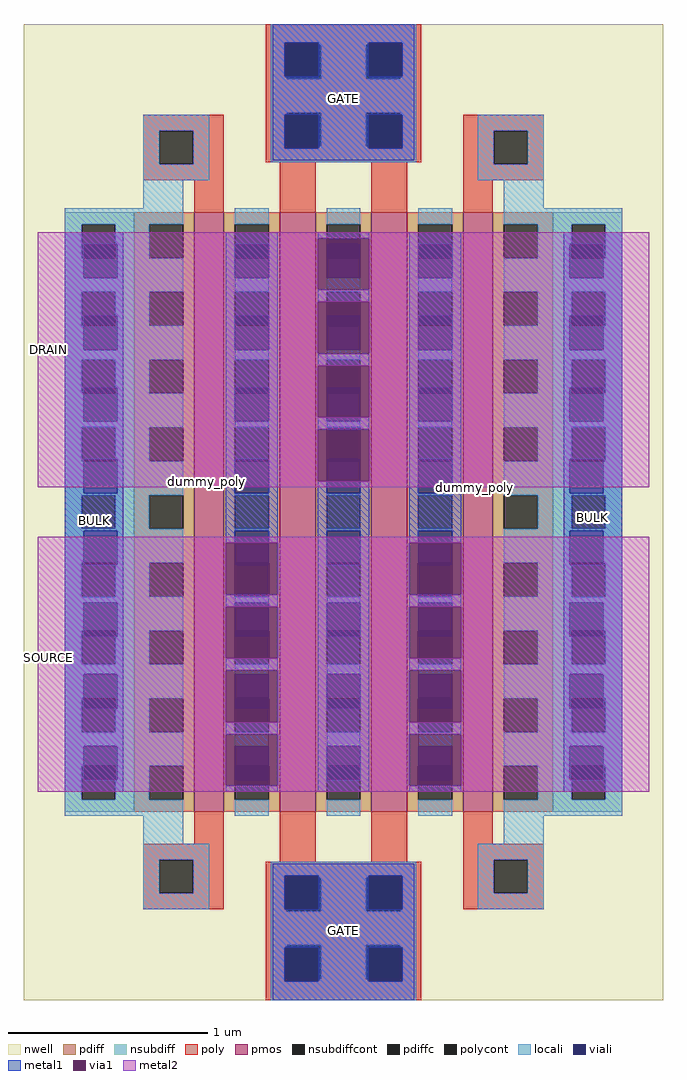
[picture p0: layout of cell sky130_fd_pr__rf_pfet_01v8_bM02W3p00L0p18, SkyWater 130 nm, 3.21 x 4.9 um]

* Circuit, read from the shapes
.subckt sky130_fd_pr__rf_pfet_01v8_bM02W3p00L0p18 BULK DRAIN GATE SOURCE
XM1 SOURCE BULK BULK BULK sky130_fd_pr__pfet_01v8 w=3.01 l=0.15 m=2
XM2 DRAIN GATE SOURCE BULK sky130_fd_pr__pfet_01v8 w=3.01 l=0.18 m=2
.ends

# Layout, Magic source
magic
tech sky130A
magscale 1 2
<< nwell >>
rect 0 0 642 980
<< pmos >>
rect 171 189 201 791
rect 257 189 293 791
rect 349 189 385 791
rect 441 189 471 791
<< pdiff >>
rect 111 779 171 791
rect 111 745 126 779
rect 160 745 171 779
rect 111 711 171 745
rect 111 677 126 711
rect 160 677 171 711
rect 111 643 171 677
rect 111 609 126 643
rect 160 609 171 643
rect 111 575 171 609
rect 111 541 126 575
rect 160 541 171 575
rect 111 507 171 541
rect 111 473 126 507
rect 160 473 171 507
rect 111 439 171 473
rect 111 405 126 439
rect 160 405 171 439
rect 111 371 171 405
rect 111 337 126 371
rect 160 337 171 371
rect 111 303 171 337
rect 111 269 126 303
rect 160 269 171 303
rect 111 235 171 269
rect 111 201 126 235
rect 160 201 171 235
rect 111 189 171 201
rect 201 779 257 791
rect 201 745 212 779
rect 246 745 257 779
rect 201 711 257 745
rect 201 677 212 711
rect 246 677 257 711
rect 201 643 257 677
rect 201 609 212 643
rect 246 609 257 643
rect 201 575 257 609
rect 201 541 212 575
rect 246 541 257 575
rect 201 507 257 541
rect 201 473 212 507
rect 246 473 257 507
rect 201 439 257 473
rect 201 405 212 439
rect 246 405 257 439
rect 201 371 257 405
rect 201 337 212 371
rect 246 337 257 371
rect 201 303 257 337
rect 201 269 212 303
rect 246 269 257 303
rect 201 235 257 269
rect 201 201 212 235
rect 246 201 257 235
rect 201 189 257 201
rect 293 779 349 791
rect 293 745 304 779
rect 338 745 349 779
rect 293 711 349 745
rect 293 677 304 711
rect 338 677 349 711
rect 293 643 349 677
rect 293 609 304 643
rect 338 609 349 643
rect 293 575 349 609
rect 293 541 304 575
rect 338 541 349 575
rect 293 507 349 541
rect 293 473 304 507
rect 338 473 349 507
rect 293 439 349 473
rect 293 405 304 439
rect 338 405 349 439
rect 293 371 349 405
rect 293 337 304 371
rect 338 337 349 371
rect 293 303 349 337
rect 293 269 304 303
rect 338 269 349 303
rect 293 235 349 269
rect 293 201 304 235
rect 338 201 349 235
rect 293 189 349 201
rect 385 779 441 791
rect 385 745 396 779
rect 430 745 441 779
rect 385 711 441 745
rect 385 677 396 711
rect 430 677 441 711
rect 385 643 441 677
rect 385 609 396 643
rect 430 609 441 643
rect 385 575 441 609
rect 385 541 396 575
rect 430 541 441 575
rect 385 507 441 541
rect 385 473 396 507
rect 430 473 441 507
rect 385 439 441 473
rect 385 405 396 439
rect 430 405 441 439
rect 385 371 441 405
rect 385 337 396 371
rect 430 337 441 371
rect 385 303 441 337
rect 385 269 396 303
rect 430 269 441 303
rect 385 235 441 269
rect 385 201 396 235
rect 430 201 441 235
rect 385 189 441 201
rect 471 779 531 791
rect 471 745 482 779
rect 516 745 531 779
rect 471 711 531 745
rect 471 677 482 711
rect 516 677 531 711
rect 471 643 531 677
rect 471 609 482 643
rect 516 609 531 643
rect 471 575 531 609
rect 471 541 482 575
rect 516 541 531 575
rect 471 507 531 541
rect 471 473 482 507
rect 516 473 531 507
rect 471 439 531 473
rect 471 405 482 439
rect 516 405 531 439
rect 471 371 531 405
rect 471 337 482 371
rect 516 337 531 371
rect 471 303 531 337
rect 471 269 482 303
rect 516 269 531 303
rect 471 235 531 269
rect 471 201 482 235
rect 516 201 531 235
rect 471 189 531 201
<< pdiffc >>
rect 126 745 160 779
rect 126 677 160 711
rect 126 609 160 643
rect 126 541 160 575
rect 126 473 160 507
rect 126 405 160 439
rect 126 337 160 371
rect 126 269 160 303
rect 126 201 160 235
rect 212 745 246 779
rect 212 677 246 711
rect 212 609 246 643
rect 212 541 246 575
rect 212 473 246 507
rect 212 405 246 439
rect 212 337 246 371
rect 212 269 246 303
rect 212 201 246 235
rect 304 745 338 779
rect 304 677 338 711
rect 304 609 338 643
rect 304 541 338 575
rect 304 473 338 507
rect 304 405 338 439
rect 304 337 338 371
rect 304 269 338 303
rect 304 201 338 235
rect 396 745 430 779
rect 396 677 430 711
rect 396 609 430 643
rect 396 541 430 575
rect 396 473 430 507
rect 396 405 430 439
rect 396 337 430 371
rect 396 269 430 303
rect 396 201 430 235
rect 482 745 516 779
rect 482 677 516 711
rect 482 609 516 643
rect 482 541 516 575
rect 482 473 516 507
rect 482 405 516 439
rect 482 337 516 371
rect 482 269 516 303
rect 482 201 516 235
<< nsubdiff >>
rect 41 779 111 791
rect 41 745 58 779
rect 92 745 111 779
rect 41 711 111 745
rect 41 677 58 711
rect 92 677 111 711
rect 41 643 111 677
rect 41 609 58 643
rect 92 609 111 643
rect 41 575 111 609
rect 41 541 58 575
rect 92 541 111 575
rect 41 507 111 541
rect 41 473 58 507
rect 92 473 111 507
rect 41 439 111 473
rect 41 405 58 439
rect 92 405 111 439
rect 41 371 111 405
rect 41 337 58 371
rect 92 337 111 371
rect 41 303 111 337
rect 41 269 58 303
rect 92 269 111 303
rect 41 235 111 269
rect 41 201 58 235
rect 92 201 111 235
rect 41 189 111 201
rect 531 779 601 791
rect 531 745 550 779
rect 584 745 601 779
rect 531 711 601 745
rect 531 677 550 711
rect 584 677 601 711
rect 531 643 601 677
rect 531 609 550 643
rect 584 609 601 643
rect 531 575 601 609
rect 531 541 550 575
rect 584 541 601 575
rect 531 507 601 541
rect 531 473 550 507
rect 584 473 601 507
rect 531 439 601 473
rect 531 405 550 439
rect 584 405 601 439
rect 531 371 601 405
rect 531 337 550 371
rect 584 337 601 371
rect 531 303 601 337
rect 531 269 550 303
rect 584 269 601 303
rect 531 235 601 269
rect 531 201 550 235
rect 584 201 601 235
rect 531 189 601 201
<< nsubdiffcont >>
rect 58 745 92 779
rect 58 677 92 711
rect 58 609 92 643
rect 58 541 92 575
rect 58 473 92 507
rect 58 405 92 439
rect 58 337 92 371
rect 58 269 92 303
rect 58 201 92 235
rect 550 745 584 779
rect 550 677 584 711
rect 550 609 584 643
rect 550 541 584 575
rect 550 473 584 507
rect 550 405 584 439
rect 550 337 584 371
rect 550 269 584 303
rect 550 201 584 235
<< poly >>
rect 243 959 399 980
rect 243 925 264 959
rect 298 925 344 959
rect 378 925 399 959
rect 243 891 399 925
rect 120 873 201 889
rect 120 839 136 873
rect 170 839 201 873
rect 243 857 264 891
rect 298 857 344 891
rect 378 857 399 891
rect 243 841 399 857
rect 441 873 522 889
rect 120 823 201 839
rect 171 791 201 823
rect 257 791 293 841
rect 349 791 385 841
rect 441 839 472 873
rect 506 839 522 873
rect 441 823 522 839
rect 441 791 471 823
rect 171 157 201 189
rect 120 141 201 157
rect 120 107 136 141
rect 170 107 201 141
rect 257 139 293 189
rect 349 139 385 189
rect 441 157 471 189
rect 441 141 522 157
rect 120 91 201 107
rect 243 123 399 139
rect 243 89 264 123
rect 298 89 344 123
rect 378 89 399 123
rect 441 107 472 141
rect 506 107 522 141
rect 441 91 522 107
rect 243 55 399 89
rect 243 21 264 55
rect 298 21 344 55
rect 378 21 399 55
rect 243 0 399 21
<< polycont >>
rect 264 925 298 959
rect 344 925 378 959
rect 136 839 170 873
rect 264 857 298 891
rect 344 857 378 891
rect 472 839 506 873
rect 136 107 170 141
rect 264 89 298 123
rect 344 89 378 123
rect 472 107 506 141
rect 264 21 298 55
rect 344 21 378 55
<< locali >>
rect 248 961 394 980
rect 248 927 262 961
rect 296 959 346 961
rect 248 925 264 927
rect 298 925 344 959
rect 380 927 394 961
rect 378 925 394 927
rect 248 891 394 925
rect 248 889 264 891
rect 120 873 186 889
rect 120 839 136 873
rect 170 839 186 873
rect 248 855 262 889
rect 298 857 344 891
rect 378 889 394 891
rect 296 855 346 857
rect 380 855 394 889
rect 248 841 394 855
rect 456 873 522 889
rect 120 823 186 839
rect 456 839 472 873
rect 506 839 522 873
rect 456 823 522 839
rect 120 795 160 823
rect 482 795 522 823
rect 41 779 160 795
rect 41 745 58 779
rect 92 759 126 779
rect 94 745 126 759
rect 41 725 60 745
rect 94 725 160 745
rect 41 711 160 725
rect 41 677 58 711
rect 92 687 126 711
rect 94 677 126 687
rect 41 653 60 677
rect 94 653 160 677
rect 41 643 160 653
rect 41 609 58 643
rect 92 615 126 643
rect 94 609 126 615
rect 41 581 60 609
rect 94 581 160 609
rect 41 575 160 581
rect 41 541 58 575
rect 92 543 126 575
rect 94 541 126 543
rect 41 509 60 541
rect 94 509 160 541
rect 41 507 160 509
rect 41 473 58 507
rect 92 473 126 507
rect 41 471 160 473
rect 41 439 60 471
rect 94 439 160 471
rect 41 405 58 439
rect 94 437 126 439
rect 92 405 126 437
rect 41 399 160 405
rect 41 371 60 399
rect 94 371 160 399
rect 41 337 58 371
rect 94 365 126 371
rect 92 337 126 365
rect 41 327 160 337
rect 41 303 60 327
rect 94 303 160 327
rect 41 269 58 303
rect 94 293 126 303
rect 92 269 126 293
rect 41 255 160 269
rect 41 235 60 255
rect 94 235 160 255
rect 41 201 58 235
rect 94 221 126 235
rect 92 201 126 221
rect 41 185 160 201
rect 212 779 246 795
rect 212 711 246 725
rect 212 643 246 653
rect 212 575 246 581
rect 212 507 246 509
rect 212 471 246 473
rect 212 399 246 405
rect 212 327 246 337
rect 212 255 246 269
rect 212 185 246 201
rect 304 779 338 795
rect 304 711 338 725
rect 304 643 338 653
rect 304 575 338 581
rect 304 507 338 509
rect 304 471 338 473
rect 304 399 338 405
rect 304 327 338 337
rect 304 255 338 269
rect 304 185 338 201
rect 396 779 430 795
rect 396 711 430 725
rect 396 643 430 653
rect 396 575 430 581
rect 396 507 430 509
rect 396 471 430 473
rect 396 399 430 405
rect 396 327 430 337
rect 396 255 430 269
rect 396 185 430 201
rect 482 779 601 795
rect 516 759 550 779
rect 516 745 548 759
rect 584 745 601 779
rect 482 725 548 745
rect 582 725 601 745
rect 482 711 601 725
rect 516 687 550 711
rect 516 677 548 687
rect 584 677 601 711
rect 482 653 548 677
rect 582 653 601 677
rect 482 643 601 653
rect 516 615 550 643
rect 516 609 548 615
rect 584 609 601 643
rect 482 581 548 609
rect 582 581 601 609
rect 482 575 601 581
rect 516 543 550 575
rect 516 541 548 543
rect 584 541 601 575
rect 482 509 548 541
rect 582 509 601 541
rect 482 507 601 509
rect 516 473 550 507
rect 584 473 601 507
rect 482 471 601 473
rect 482 439 548 471
rect 582 439 601 471
rect 516 437 548 439
rect 516 405 550 437
rect 584 405 601 439
rect 482 399 601 405
rect 482 371 548 399
rect 582 371 601 399
rect 516 365 548 371
rect 516 337 550 365
rect 584 337 601 371
rect 482 327 601 337
rect 482 303 548 327
rect 582 303 601 327
rect 516 293 548 303
rect 516 269 550 293
rect 584 269 601 303
rect 482 255 601 269
rect 482 235 548 255
rect 582 235 601 255
rect 516 221 548 235
rect 516 201 550 221
rect 584 201 601 235
rect 482 185 601 201
rect 120 157 160 185
rect 482 157 522 185
rect 120 141 186 157
rect 120 107 136 141
rect 170 107 186 141
rect 456 141 522 157
rect 120 91 186 107
rect 248 125 394 139
rect 248 91 262 125
rect 296 123 346 125
rect 248 89 264 91
rect 298 89 344 123
rect 380 91 394 125
rect 456 107 472 141
rect 506 107 522 141
rect 456 91 522 107
rect 378 89 394 91
rect 248 55 394 89
rect 248 53 264 55
rect 248 19 262 53
rect 298 21 344 55
rect 378 53 394 55
rect 296 19 346 21
rect 380 19 394 53
rect 248 0 394 19
<< viali >>
rect 262 959 296 961
rect 346 959 380 961
rect 262 927 264 959
rect 264 927 296 959
rect 346 927 378 959
rect 378 927 380 959
rect 262 857 264 889
rect 264 857 296 889
rect 346 857 378 889
rect 378 857 380 889
rect 262 855 296 857
rect 346 855 380 857
rect 60 745 92 759
rect 92 745 94 759
rect 60 725 94 745
rect 60 677 92 687
rect 92 677 94 687
rect 60 653 94 677
rect 60 609 92 615
rect 92 609 94 615
rect 60 581 94 609
rect 60 541 92 543
rect 92 541 94 543
rect 60 509 94 541
rect 60 439 94 471
rect 60 437 92 439
rect 92 437 94 439
rect 60 371 94 399
rect 60 365 92 371
rect 92 365 94 371
rect 60 303 94 327
rect 60 293 92 303
rect 92 293 94 303
rect 60 235 94 255
rect 60 221 92 235
rect 92 221 94 235
rect 212 745 246 759
rect 212 725 246 745
rect 212 677 246 687
rect 212 653 246 677
rect 212 609 246 615
rect 212 581 246 609
rect 212 541 246 543
rect 212 509 246 541
rect 212 439 246 471
rect 212 437 246 439
rect 212 371 246 399
rect 212 365 246 371
rect 212 303 246 327
rect 212 293 246 303
rect 212 235 246 255
rect 212 221 246 235
rect 304 745 338 759
rect 304 725 338 745
rect 304 677 338 687
rect 304 653 338 677
rect 304 609 338 615
rect 304 581 338 609
rect 304 541 338 543
rect 304 509 338 541
rect 304 439 338 471
rect 304 437 338 439
rect 304 371 338 399
rect 304 365 338 371
rect 304 303 338 327
rect 304 293 338 303
rect 304 235 338 255
rect 304 221 338 235
rect 396 745 430 759
rect 396 725 430 745
rect 396 677 430 687
rect 396 653 430 677
rect 396 609 430 615
rect 396 581 430 609
rect 396 541 430 543
rect 396 509 430 541
rect 396 439 430 471
rect 396 437 430 439
rect 396 371 430 399
rect 396 365 430 371
rect 396 303 430 327
rect 396 293 430 303
rect 396 235 430 255
rect 396 221 430 235
rect 548 745 550 759
rect 550 745 582 759
rect 548 725 582 745
rect 548 677 550 687
rect 550 677 582 687
rect 548 653 582 677
rect 548 609 550 615
rect 550 609 582 615
rect 548 581 582 609
rect 548 541 550 543
rect 550 541 582 543
rect 548 509 582 541
rect 548 439 582 471
rect 548 437 550 439
rect 550 437 582 439
rect 548 371 582 399
rect 548 365 550 371
rect 550 365 582 371
rect 548 303 582 327
rect 548 293 550 303
rect 550 293 582 303
rect 548 235 582 255
rect 548 221 550 235
rect 550 221 582 235
rect 262 123 296 125
rect 346 123 380 125
rect 262 91 264 123
rect 264 91 296 123
rect 346 91 378 123
rect 378 91 380 123
rect 262 21 264 53
rect 264 21 296 53
rect 346 21 378 53
rect 378 21 380 53
rect 262 19 296 21
rect 346 19 380 21
<< metal1 >>
rect 250 961 392 980
rect 250 927 262 961
rect 296 927 346 961
rect 380 927 392 961
rect 250 889 392 927
rect 250 855 262 889
rect 296 855 346 889
rect 380 855 392 889
rect 250 843 392 855
rect 41 759 100 771
rect 41 725 60 759
rect 94 725 100 759
rect 41 687 100 725
rect 41 653 60 687
rect 94 653 100 687
rect 41 615 100 653
rect 41 581 60 615
rect 94 581 100 615
rect 41 543 100 581
rect 41 509 60 543
rect 94 509 100 543
rect 41 471 100 509
rect 41 437 60 471
rect 94 437 100 471
rect 41 399 100 437
rect 41 365 60 399
rect 94 365 100 399
rect 41 327 100 365
rect 41 293 60 327
rect 94 293 100 327
rect 41 255 100 293
rect 41 221 60 255
rect 94 221 100 255
rect 41 209 100 221
rect 203 759 255 771
rect 203 725 212 759
rect 246 725 255 759
rect 203 687 255 725
rect 203 653 212 687
rect 246 653 255 687
rect 203 615 255 653
rect 203 581 212 615
rect 246 581 255 615
rect 203 543 255 581
rect 203 509 212 543
rect 246 509 255 543
rect 203 471 255 509
rect 203 459 212 471
rect 246 459 255 471
rect 203 399 255 407
rect 203 395 212 399
rect 246 395 255 399
rect 203 331 255 343
rect 203 267 255 279
rect 203 209 255 215
rect 295 765 347 771
rect 295 701 347 713
rect 295 637 347 649
rect 295 581 304 585
rect 338 581 347 585
rect 295 573 347 581
rect 295 509 304 521
rect 338 509 347 521
rect 295 471 347 509
rect 295 437 304 471
rect 338 437 347 471
rect 295 399 347 437
rect 295 365 304 399
rect 338 365 347 399
rect 295 327 347 365
rect 295 293 304 327
rect 338 293 347 327
rect 295 255 347 293
rect 295 221 304 255
rect 338 221 347 255
rect 295 209 347 221
rect 387 759 439 771
rect 387 725 396 759
rect 430 725 439 759
rect 387 687 439 725
rect 387 653 396 687
rect 430 653 439 687
rect 387 615 439 653
rect 387 581 396 615
rect 430 581 439 615
rect 387 543 439 581
rect 387 509 396 543
rect 430 509 439 543
rect 387 471 439 509
rect 387 459 396 471
rect 430 459 439 471
rect 387 399 439 407
rect 387 395 396 399
rect 430 395 439 399
rect 387 331 439 343
rect 387 267 439 279
rect 387 209 439 215
rect 542 759 601 771
rect 542 725 548 759
rect 582 725 601 759
rect 542 687 601 725
rect 542 653 548 687
rect 582 653 601 687
rect 542 615 601 653
rect 542 581 548 615
rect 582 581 601 615
rect 542 543 601 581
rect 542 509 548 543
rect 582 509 601 543
rect 542 471 601 509
rect 542 437 548 471
rect 582 437 601 471
rect 542 399 601 437
rect 542 365 548 399
rect 582 365 601 399
rect 542 327 601 365
rect 542 293 548 327
rect 582 293 601 327
rect 542 255 601 293
rect 542 221 548 255
rect 582 221 601 255
rect 542 209 601 221
rect 250 125 392 137
rect 250 91 262 125
rect 296 91 346 125
rect 380 91 392 125
rect 250 53 392 91
rect 250 19 262 53
rect 296 19 346 53
rect 380 19 392 53
rect 250 0 392 19
<< via1 >>
rect 203 437 212 459
rect 212 437 246 459
rect 246 437 255 459
rect 203 407 255 437
rect 203 365 212 395
rect 212 365 246 395
rect 246 365 255 395
rect 203 343 255 365
rect 203 327 255 331
rect 203 293 212 327
rect 212 293 246 327
rect 246 293 255 327
rect 203 279 255 293
rect 203 255 255 267
rect 203 221 212 255
rect 212 221 246 255
rect 246 221 255 255
rect 203 215 255 221
rect 295 759 347 765
rect 295 725 304 759
rect 304 725 338 759
rect 338 725 347 759
rect 295 713 347 725
rect 295 687 347 701
rect 295 653 304 687
rect 304 653 338 687
rect 338 653 347 687
rect 295 649 347 653
rect 295 615 347 637
rect 295 585 304 615
rect 304 585 338 615
rect 338 585 347 615
rect 295 543 347 573
rect 295 521 304 543
rect 304 521 338 543
rect 338 521 347 543
rect 387 437 396 459
rect 396 437 430 459
rect 430 437 439 459
rect 387 407 439 437
rect 387 365 396 395
rect 396 365 430 395
rect 430 365 439 395
rect 387 343 439 365
rect 387 327 439 331
rect 387 293 396 327
rect 396 293 430 327
rect 430 293 439 327
rect 387 279 439 293
rect 387 255 439 267
rect 387 221 396 255
rect 396 221 430 255
rect 430 221 439 255
rect 387 215 439 221
<< metal2 >>
rect 14 765 628 771
rect 14 713 295 765
rect 347 713 628 765
rect 14 701 628 713
rect 14 649 295 701
rect 347 649 628 701
rect 14 637 628 649
rect 14 585 295 637
rect 347 585 628 637
rect 14 573 628 585
rect 14 521 295 573
rect 347 521 628 573
rect 14 515 628 521
rect 14 459 628 465
rect 14 407 203 459
rect 255 407 387 459
rect 439 407 628 459
rect 14 395 628 407
rect 14 343 203 395
rect 255 343 387 395
rect 439 343 628 395
rect 14 331 628 343
rect 14 279 203 331
rect 255 279 387 331
rect 439 279 628 331
rect 14 267 628 279
rect 14 215 203 267
rect 255 215 387 267
rect 439 215 628 267
rect 14 209 628 215
<< labels >>
flabel comment s 183 521 183 521 0 FreeSans 180 90 0 0 dummy_poly
flabel comment s 453 515 453 515 0 FreeSans 180 90 0 0 dummy_poly
flabel metal1 s 255 44 386 95 0 FreeSans 200 0 0 0 GATE
port 3 nsew
flabel metal1 s 255 880 386 931 0 FreeSans 200 0 0 0 GATE
port 3 nsew
flabel metal1 s 41 466 100 496 0 FreeSans 200 90 0 0 BULK
port 1 nsew
flabel metal1 s 542 469 601 499 0 FreeSans 200 90 0 0 BULK
port 1 nsew
flabel metal2 s 14 280 35 408 7 FreeSans 300 180 0 0 SOURCE
port 4 nsew
flabel metal2 s 14 589 35 717 7 FreeSans 300 180 0 0 DRAIN
port 2 nsew
<< properties >>
string GDS_FILE $PDKPATH/libs.ref/sky130_fd_pr/gds/sky130_fd_pr.gds
string GDS_END 9612676
string GDS_START 9598096
<< end >>
